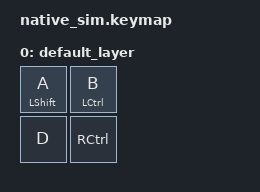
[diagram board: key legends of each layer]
#include <dt-bindings/zmk/keys.h>
#include <behaviors.dtsi>
#include <dt-bindings/zmk/input_mock.h>

/ {
    behaviors {
        ht_bal: behavior_hold_tap_balanced {
            compatible = "zmk,behavior-hold-tap";
            #binding-cells = <2>;
            flavor = "balanced";
            tapping-term-ms = <100>;
            quick-tap-ms = <200>;
            bindings = <&kp>, <&kp>;
            hold-while-undecided;
        };
    };

    keymap {
        compatible = "zmk,keymap";

        default_layer {
            bindings = <
                &ht_bal LEFT_SHIFT A &ht_bal LEFT_CONTROL B
                &kp D &kp RIGHT_CONTROL>;
        };
    };
};

&mock_input {
    events = <
        ZMK_INPUT_MOCK_PRESS(0,0,150)
        ZMK_INPUT_MOCK_RELEASE(0,0,10)
    >;
};
